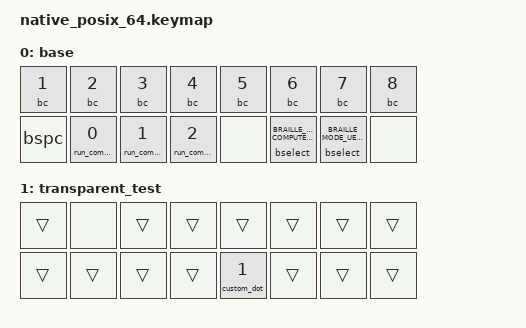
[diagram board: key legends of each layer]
/* SPDX-License-Identifier: MIT */
#include <behaviors.dtsi>
#include <behaviors/braille.dtsi>
#include <dt-bindings/zmk/kscan_mock.h>

/ {
    behaviors {
        custom_dot: custom_dot {
            compatible = "zmk,behavior-braille-dot";
            #binding-cells = <1>;
        };
        run_commands: run_commands {
            compatible = "braille,test-commands";
            #binding-cells = <1>;
        };
    };
    keymap {
        compatible = "zmk,keymap";
        base {
            /* Deliberately no &kp or &sk bindings: the module must retain them. */
            bindings = <
                &bc 1 &bc 2 &bc 3 &bc 4 &bc 5 &bc 6 &bc 7 &bc 8
                &bspc &run_commands 0 &run_commands 1 &run_commands 2 &none &bselect BRAILLE_MODE_COMPUTER8 &bselect BRAILLE_MODE_UEB2 &none
            >;
        };
        transparent_test {
            bindings = <
                &trans &none &trans &trans &trans &trans &trans &trans
                &trans &trans &trans &trans &custom_dot 1 &trans &trans &trans
            >;
        };
    };
};

&kscan {
    columns = <8>;
    events = <
        ZMK_MOCK_PRESS(1, 1, 10) ZMK_MOCK_RELEASE(1, 1, 1200)
        ZMK_MOCK_PRESS(1, 2, 10) ZMK_MOCK_RELEASE(1, 2, 1200)
        ZMK_MOCK_PRESS(1, 3, 10) ZMK_MOCK_RELEASE(1, 3, 10)
    >;
};
